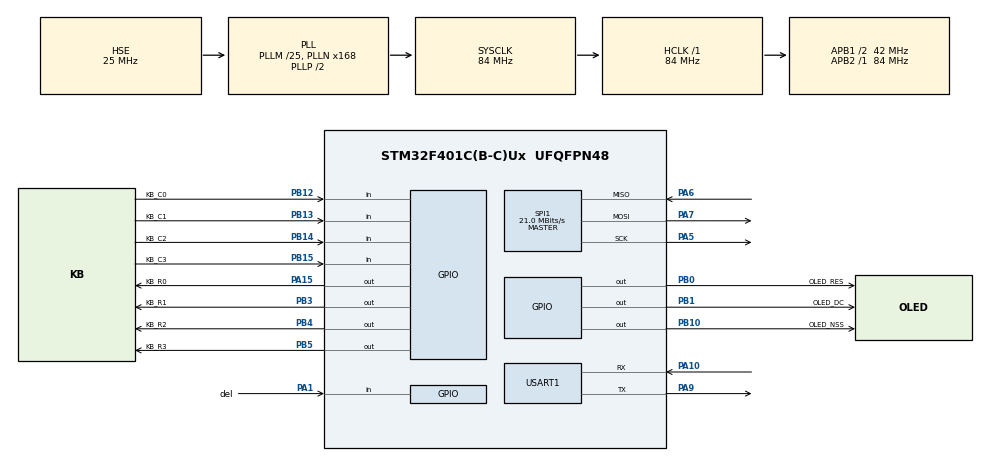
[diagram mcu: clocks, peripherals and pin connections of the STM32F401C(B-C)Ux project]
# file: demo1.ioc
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Mcu.Family=STM32F4
Mcu.Name=STM32F401C(B-C)Ux
Mcu.Package=UFQFPN48
NVIC.PriorityGroup=NVIC_PRIORITYGROUP_4
PA1.GPIO_Label=del
PA1.GPIO_PuPd=GPIO_PULLUP
PA1.Signal=GPIO_Input
PA10.Mode=Asynchronous
PA10.Signal=USART1_RX
PA15.GPIO_Label=KB_R0
PA15.Signal=GPIO_Output
PA5.Mode=Full_Duplex_Master
PA5.Signal=SPI1_SCK
PA6.Mode=Full_Duplex_Master
PA6.Signal=SPI1_MISO
PA7.Mode=Full_Duplex_Master
PA7.Signal=SPI1_MOSI
PA9.Mode=Asynchronous
PA9.Signal=USART1_TX
PB0.GPIO_Label=OLED_RES
PB0.Signal=GPIO_Output
PB1.GPIO_Label=OLED_DC
PB1.Signal=GPIO_Output
PB10.GPIO_Label=OLED_NSS
PB10.Signal=GPIO_Output
PB12.GPIO_Label=KB_C0
PB12.GPIO_PuPd=GPIO_PULLDOWN
PB12.Signal=GPIO_Input
PB13.GPIO_Label=KB_C1
PB13.GPIO_PuPd=GPIO_PULLDOWN
PB13.Signal=GPIO_Input
PB14.GPIO_Label=KB_C2
PB14.GPIO_PuPd=GPIO_PULLDOWN
PB14.Signal=GPIO_Input
PB15.GPIO_Label=KB_C3
PB15.GPIO_PuPd=GPIO_PULLDOWN
PB15.Signal=GPIO_Input
PB3.GPIO_Label=KB_R1
PB3.Signal=GPIO_Output
PB4.GPIO_Label=KB_R2
PB4.Signal=GPIO_Output
PB5.GPIO_Label=KB_R3
PB5.Signal=GPIO_Output
PH0\ -\ OSC_IN.Mode=HSE-External-Oscillator
PH0\ -\ OSC_IN.Signal=RCC_OSC_IN
PH1\ -\ OSC_OUT.Mode=HSE-External-Oscillator
PH1\ -\ OSC_OUT.Signal=RCC_OSC_OUT
ProjectManager.HeapSize=0x200
ProjectManager.StackSize=0x400
ProjectManager.TargetToolchain=SW4STM32
RCC.48MHZClocksFreq_Value=42000000
RCC.AHBFreq_Value=84000000
RCC.APB1CLKDivider=RCC_HCLK_DIV2
RCC.APB1Freq_Value=42000000
RCC.APB1TimFreq_Value=84000000
RCC.APB2Freq_Value=84000000
RCC.APB2TimFreq_Value=84000000
RCC.CortexFreq_Value=84000000
RCC.HCLKFreq_Value=84000000
RCC.HSE_VALUE=25000000
RCC.HSI_VALUE=16000000
RCC.LSE_VALUE=32768
RCC.PLLM=25
RCC.PLLN=168
RCC.PLLSourceVirtual=RCC_PLLSOURCE_HSE
RCC.SYSCLKFreq_VALUE=84000000
RCC.SYSCLKSource=RCC_SYSCLKSOURCE_PLLCLK
RCC.VCOOutputFreq_Value=168000000
SPI1.BaudRatePrescaler=SPI_BAUDRATEPRESCALER_4
SPI1.CLKPhase=SPI_PHASE_2EDGE
SPI1.CLKPolarity=SPI_POLARITY_HIGH
SPI1.CalculateBaudRate=21.0 MBits/s
SPI1.Direction=SPI_DIRECTION_2LINES
SPI1.Mode=SPI_MODE_MASTER
SPI1.VirtualType=VM_MASTER
USART1.VirtualMode=VM_ASYNC
board=custom

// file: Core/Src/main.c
/* USER CODE BEGIN Header */

/**
  ******************************************************************************
  * @file           : main.c
  * @brief          : Main program body
  ******************************************************************************
  * @attention
  *
  * <h2><center>&copy; Copyright (c) 2021 STMicroelectronics.
  * All rights reserved.</center></h2>
  *
  * This software component is licensed by ST under BSD 3-Clause license,
  * the "License"; You may not use this file except in compliance with the
  * License. You may obtain a copy of the License at:
  *                        opensource.org/licenses/BSD-3-Clause
  *
  ******************************************************************************
  */
/* USER CODE END Header */
#include "main.h"
#include "spi.h"
#include "usart.h"
#include "gpio.h"

/* USER CODE BEGIN Includes */
#include"u8g2.h"
#include <stdio.h>
#include<math.h>
/* USER CODE END Includes */

/* USER CODE BEGIN PV */
u8g2_t u8g2;
//buffer starts
uint8_t first[14]={0};
uint8_t second[14]={0};
uint8_t resault[14]={0};
char menu[16][2]={
        "7","8","9","/",
        "4","5","6","x",
        "1","2","3","-",
        "0",".","=","+"
};
char sign[2];
uint8_t line=1;
uint8_t model=1;
uint8_t state=1;
//state表：
//  输入  1
//   +    2
//   -    3
//   x    4
//   /    5
//  输出  6
char byf250[20];
/* USER CODE END PV */

void SystemClock_Config(void);
/* USER CODE BEGIN PFP */
uint8_t u8x8_stm32_gpio_and_delay(U8X8_UNUSED u8x8_t *u8x8,
                                  U8X8_UNUSED uint8_t msg,
                                  U8X8_UNUSED uint8_t arg_int,
                                  U8X8_UNUSED void *arg_ptr);
uint8_t u8x8_byte_4wire_hw_spi(u8x8_t *u8x8, uint8_t msg, uint8_t arg_int,void *arg_ptr);
int strlen(uint8_t *s);
char* strcat(char *destination,const char *source);

/* USER CODE END PFP */

/* USER CODE BEGIN 0 */
typedef struct {
    GPIO_TypeDef *GPIOx;
    uint16_t GPIO_Pin;
} GPIO_Pin_TypeDef;

GPIO_Pin_TypeDef keyboardRow[] = {
        { KB_R3_GPIO_Port, KB_R3_Pin },
        { KB_R2_GPIO_Port, KB_R2_Pin },
        { KB_R1_GPIO_Port, KB_R1_Pin },
        { KB_R0_GPIO_Port, KB_R0_Pin },
};

GPIO_Pin_TypeDef keyboardCol[] = {
        { KB_C3_GPIO_Port, KB_C3_Pin },
        { KB_C2_GPIO_Port, KB_C2_Pin },
        { KB_C1_GPIO_Port, KB_C1_Pin },
        { KB_C0_GPIO_Port, KB_C0_Pin },
};

uint32_t KeyboardScan(void)
{
    uint32_t result = 0;
    for (int row = 0; row < sizeof(keyboardRow) / sizeof(GPIO_Pin_TypeDef); row++)
    {
        HAL_GPIO_WritePin(keyboardRow[row].GPIOx, keyboardRow[row].GPIO_Pin, GPIO_PIN_SET);
        for (int col = 0; col < sizeof(keyboardCol) / sizeof(GPIO_Pin_TypeDef); col++)
        {
            result <<= 1;
            result |= HAL_GPIO_ReadPin(keyboardCol[col].GPIOx, keyboardCol[col].GPIO_Pin) == GPIO_PIN_SET;
        }
        HAL_GPIO_WritePin(keyboardRow[row].GPIOx, keyboardRow[row].GPIO_Pin, GPIO_PIN_RESET);
    }

    return result;
}

//u8g2相关内容

void frame(u8g2_t* u8g2,uint8_t first[],uint8_t second[],uint8_t out[],uint8_t sign[]);
void frameutf8(u8g2_t* u8g2,uint8_t first[],uint8_t second[],uint8_t out[]);

uint8_t decode(uint16_t data,uint8_t pos);

void operate(uint8_t* first)
{
    uint32_t index=KeyboardScan();
//    loop:
//    if (!KeyboardScan())
//
//        for (int i = 0; i < 16; i++) {
//            if (index & (1 << i)) {
//                strcat(first, menu[i]);
//            }
//        }
//    else
//        goto loop;

while(KeyboardScan())
{

}
    for (int i = 0; i < 16; i++) {
        if (index & (1 << i)) {
            strcat(first, menu[i]);
        }
    }

//    for(int i=0;i<16;i++)//标记位i
//    {
//        if (decode(index, i) > 0)//按下就进行匹
//        {
//            switch (index) {
//                case 1:
//                    strcat(first, "7");
//                    state = 1;
//                    break;
//                case 2:
//                    strcat(first, "8");
//                    state = 1;
//                    break;
//                case 4:
//                    strcat(first, "9");
//                    state = 1;
//                    break;
//                case 8:
//                    //strcat(buffer,"7");
//                    state = _div;
//                    break;
//                case 16:
//                    strcat(first, "4");
//                    state = _input;
//                    break;
//                case 32:
//                    strcat(first, "5");
//                    state = _input;
//                    break;
//                case 64:
//                    strcat(first, "6");
//                    state = _input;
//                    break;
//                case 128:
//                    state = _multi;
//                    break;
//                case 256:
//                    strcat(first, "1");
//                    state = _input;
//                    break;
//                case 512:
//                    strcat(first, "2");
//                    state = _input;
//                    break;
//                case 1024:
//                    strcat(first, "3");
//                    state = _input;
//                    break;
//                case 2048:
//                    state = _sub;
//                    break;
//                case 4096:
//                    strcat(first, "0");
//                    state = _input;
//                    break;
//                case 8192:
//                    strcat(first, ".");
//                    state = _input;
//                    break;
//                case 16384:
//                    state = _output;
//                    break;
//                case 32768:
//                    state = _plus;
//                    break;
//            }
//        }
//    }
}
void countmodel(uint8_t *buffer)
{
    int i=0;
    while(buffer[i++])
    {
        if(buffer[i]=='.')
            model=_float;
    }
}
int str2value_int(uint8_t *buffer)
{
    int len = 0;
    int sum = 0;
    int i = 0;
    while (buffer[i++])
    {

        sum = sum * 10 + buffer[i-1] - '0';

    }
    return sum;
}
void value2str_int(uint8_t* buffer,int value)
{
    int m, len = 0;
    if (value >= 0)
    {
        do {
            m = value % 10;
            len = 0;
            while (buffer[len++]);
            len--;
            for (; len > 0; len--) {
                buffer[len] = buffer[len - 1];
            }
            buffer[0] = m + '0';
            value /= 10;

        } while (value);
    }
    else
    {
        value=-value;
        do {
            m = value % 10;
            len = 0;
            while (buffer[len++]);
            len--;
            for (; len > 0; len--) {
                buffer[len] = buffer[len - 1];
            }
            buffer[0] = m + '0';
            value /= 10;

        } while (value);
        len = 0;
        while (buffer[len++]);
        len--;
        for (; len > 0; len--) {
            buffer[len] = buffer[len - 1];
        }
        buffer[0] = '-';

    }

}

//copy de demo
float str2value_float(char *num){

    double n = 0, sign = 1, scale = 0;
    int subscale = 0, signsubscale = 1;

    if (*num == '-') {
        sign = -1, num++;	/* Has sign? */
    }

    while (*num == '0') {
        num++;
    }

    if (*num >= '1' && *num <= '9')	{
        do {
            n = (n * 10.0) + (*num++ - '0');
        } while (*num >= '0' && *num <= '9');	/* Number? */
    }

    if (*num == '.' && num[1] >= '0' && num[1] <= '9') {
        num++;
        do {
            n = (n * 10.0) + (*num++ -'0'), scale--;
        } while (*num >= '0' && *num <= '9');
    }	/* Fractional part? */

    if (*num == 'e' || *num == 'E')	{	/* Exponent? */
        num++;
        if (*num == '+') {
            num++;
        } else if (*num == '-') {
            signsubscale = -1, num++;		/* With sign? */
        }

        while (*num >= '0' && *num <= '9' ) {
            subscale = (subscale * 10) + (*num++ - '0');	/* Number? */
        }
    }

    n = sign * n * pow(10.0, (scale + subscale * signsubscale));	/* number = +/- number.fraction * 10^ +/- exponent */

    return n;
}
void value2str_float(char*buffer,float slope)  //浮点型数，存储的字符数组，字符数组的长度
{
   // buffer[0]=' ';
    int n= 13;
    int temp,i,j;
    if(slope<0)
    {
        buffer[0] = '-';
        slope = -slope;
    }
    temp = (int)slope;//取整数部�?
    for(i=0;temp!=0;i++)//计算整数部分的位�?
        temp /=10;
    temp =(int)slope;

    for(j=i;j>=0;j--)//将整数部分转换成字符串型
    {
        buffer[j] = temp%10+'0';
        temp /=10;
    }

    buffer[i+1] = '.';
    slope -=(int)slope;
    for(i=i+2;i<n-1;i++)//将小数部分转换成字符串型
    {
        slope*=10;
        buffer[i]=(int)slope+'0';
        slope-=(int)slope;
    }
    buffer[n-1] = '\0';
}
int iffloat(uint8_t* buffer)
{
    int flag=1,i=0;
    while(buffer[i])
    {
        if(buffer[i]=='.')
            flag=0;
        i++;
    }

    return flag;
}
void del_key(uint8_t * buffer)
{
    int i=0;
    while(buffer[i++]);
    i--;
    if(i>0)
        buffer[i-1]=0;
}
/* USER CODE END 0 */

int main(void)
{

  /* MCU Configuration--------------------------------------------------------*/

  /* Reset of all peripherals, Initializes the Flash interface and the Systick. */
  HAL_Init();

  /* Configure the system clock */
  SystemClock_Config();

  /* Initialize all configured peripherals */
  MX_GPIO_Init();
  MX_SPI1_Init();
  MX_USART1_UART_Init();
  /* USER CODE BEGIN 2 */
    u8g2_Setup_ssd1306_128x64_noname_f(&u8g2, U8G2_R0, u8x8_byte_4wire_hw_spi, u8x8_stm32_gpio_and_delay);
    u8g2_InitDisplay(&u8g2);
    u8g2_SetPowerSave(&u8g2, 0);

  /* USER CODE END 2 */

  /* Infinite loop */
  /* USER CODE BEGIN WHILE */
  while (1)
  {
      //HAL_UART_Transmit(&huart1,"hhh",3,HAL_MAX_DELAY);
    /* USER CODE END WHILE */

    /* USER CODE BEGIN 3 */

//      uint32_t keyboard = KeyboardScan();
//
//      u8g2_FirstPage(&u8g2);
//      do
//      {
//          u8g2_SetFont(&u8g2, u8g2_font_courR18_tf);
//          u8g2_DrawStr(&u8g2, 60, 60, "SAST");
//
//          for (size_t i = 0; i < 4; i++)
//          {
//              for (size_t j = 0; j < 4; j++)
//              {
//                  if (keyboard & (1 << (15 - i * 4 - j)))
//                  {
//                      u8g2_DrawStr(&u8g2, j * 12, i * 16 - 1 + 16, "1");
//                  }
//                  else
//                  {
//                      u8g2_DrawStr(&u8g2, j * 12, i * 16 - 1 + 16, "0");
//                  }
//              }
//          }
//
//      } while (u8g2_NextPage(&u8g2));

//************uniform model select***********************
      int keyboard=KeyboardScan();

      for (int i = 0; i < 16; i++)
      {
          if (keyboard & (1 << i))
          {

              //***********select format******************

              if (menu[i][0]=='+')
              {
                state=_plus;
                sign[0]='+';
              }
              else if (menu[i][0]=='-')
              {
                state=_sub;
                sign[0]='-';
                  //HAL_UART_Transmit(&huart1,&menu[i],1,HAL_MAX_DELAY);
              }
              else if (menu[i][0]=='x')
              {
                state=_multi;
                  sign[0]='x';
              }
              else if (menu[i][0]=='/')
              {
                  state=_div;
                  sign[0]='/';
              }
              else if (menu[i][0]=='=')
              {
                  state=_output;

              }
              //************format end******************
          }
      }
//***************************************************************

      if (state == 1&&line==1)
          operate(first);
      else if (state >= 3)
      {
          state = _input;
          line = 2;
      }
      else if(state==1&&line==2)
          operate(second);
      else if (state == _output) {
          while (KeyboardScan()) {

          }
          if (iffloat(first) && iffloat(second)) {
              int one = str2value_int(first), two = str2value_int(second);

              if (sign[0] == '+')
                  value2str_int(resault, one + two);
              if (sign[0] == '-')
                  value2str_int(resault, one - two);
              if (sign[0] == 'x')
                  value2str_int(resault, one * two);
              if (sign[0] == '/')
                  value2str_float(resault, (double) one / two);
              //state = 0;
          }

          else
          {
              double one = str2value_float(first), two = str2value_float(second);

              if (sign[0] == '+')
                  value2str_float(resault, one + two);
              if (sign[0] == '-')
                  value2str_float(resault, one - two);
              if (sign[0] == 'x')
                  value2str_float(resault, one * two);
              if (sign[0] == '/')
                  value2str_float(resault, one / two);
              //state = 0;
          }
      }
      if (!HAL_GPIO_ReadPin(del_GPIO_Port, del_Pin)) {
          while (!HAL_GPIO_ReadPin(del_GPIO_Port, del_Pin)) {

          }
          if (line == 1)
              del_key(first);
          if (line == 2)
              del_key(second);
      }

//else if(state);

      frame(&u8g2,first,second,resault,sign);
      if(state==_output)
          while(1);

//      u8g2_FirstPage(&u8g2);
//      do {
//          u8g2_SetFont(&u8g2, u8g2_font_courR12_tf);
//
//          sprintf(byf250,"%d",state);
//          u8g2_DrawStr(&u8g2,1,45,byf250);
//
//      } while (u8g2_NextPage(&u8g2));

//    int index=KeyboardScan();
//      int len = strlen(resault);
//      u8g2_FirstPage(&u8g2);
//      do {
//          u8g2_SetFont(&u8g2, u8g2_font_courR12_tf);
//          u8g2_DrawStr(&u8g2, 0, 15, first);
//          u8g2_DrawStr(&u8g2, 0, 30, second);
////          u8g2_DrawStr(&u8g2, 128 - len * 10, 50, resault);
//          u8g2_DrawLine(&u8g2, 0, 32, 128, 32);
//          sprintf(byf250,"%d",index);
//          u8g2_DrawStr(&u8g2,1,45,byf250);
//
//      } while (u8g2_NextPage(&u8g2));

      //HAL_Delay(500);

  }
  /* USER CODE END 3 */
}

void SystemClock_Config(void)
{
  RCC_OscInitTypeDef RCC_OscInitStruct = {0};
  RCC_ClkInitTypeDef RCC_ClkInitStruct = {0};

  /** Configure the main internal regulator output voltage
  */
  __HAL_RCC_PWR_CLK_ENABLE();
  __HAL_PWR_VOLTAGESCALING_CONFIG(PWR_REGULATOR_VOLTAGE_SCALE2);
  /** Initializes the RCC Oscillators according to the specified parameters
  * in the RCC_OscInitTypeDef structure.
  */
  RCC_OscInitStruct.OscillatorType = RCC_OSCILLATORTYPE_HSE;
  RCC_OscInitStruct.HSEState = RCC_HSE_ON;
  RCC_OscInitStruct.PLL.PLLState = RCC_PLL_ON;
  RCC_OscInitStruct.PLL.PLLSource = RCC_PLLSOURCE_HSE;
  RCC_OscInitStruct.PLL.PLLM = 25;
  RCC_OscInitStruct.PLL.PLLN = 168;
  RCC_OscInitStruct.PLL.PLLP = RCC_PLLP_DIV2;
  RCC_OscInitStruct.PLL.PLLQ = 4;
  if (HAL_RCC_OscConfig(&RCC_OscInitStruct) != HAL_OK)
  {
    Error_Handler();
  }
  /** Initializes the CPU, AHB and APB buses clocks
  */
  RCC_ClkInitStruct.ClockType = RCC_CLOCKTYPE_HCLK|RCC_CLOCKTYPE_SYSCLK
                              |RCC_CLOCKTYPE_PCLK1|RCC_CLOCKTYPE_PCLK2;
  RCC_ClkInitStruct.SYSCLKSource = RCC_SYSCLKSOURCE_PLLCLK;
  RCC_ClkInitStruct.AHBCLKDivider = RCC_SYSCLK_DIV1;
  RCC_ClkInitStruct.APB1CLKDivider = RCC_HCLK_DIV2;
  RCC_ClkInitStruct.APB2CLKDivider = RCC_HCLK_DIV1;

  if (HAL_RCC_ClockConfig(&RCC_ClkInitStruct, FLASH_LATENCY_2) != HAL_OK)
  {
    Error_Handler();
  }
}

/* USER CODE BEGIN 4 */
uint8_t u8x8_stm32_gpio_and_delay(U8X8_UNUSED u8x8_t *u8x8,
                                  U8X8_UNUSED uint8_t msg,
                                  U8X8_UNUSED uint8_t arg_int,
                                  U8X8_UNUSED void *arg_ptr)
{
    switch (msg)
    {
        case U8X8_MSG_GPIO_AND_DELAY_INIT:
            HAL_Delay(1);
            break;
        case U8X8_MSG_DELAY_MILLI:
            HAL_Delay(arg_int);
            break;
        case U8X8_MSG_GPIO_DC:
            HAL_GPIO_WritePin(OLED_DC_GPIO_Port, OLED_DC_Pin, arg_int);
            break;
        case U8X8_MSG_GPIO_RESET:
            HAL_GPIO_WritePin(OLED_RES_GPIO_Port, OLED_RES_Pin, arg_int);
            break;
    }
    return 1;
}

uint8_t u8x8_byte_4wire_hw_spi(u8x8_t *u8x8, uint8_t msg, uint8_t arg_int,void *arg_ptr)
{
    switch (msg)
    {
        case U8X8_MSG_BYTE_SEND:
            HAL_SPI_Transmit(&hspi1, (uint8_t *) arg_ptr, arg_int, HAL_MAX_DELAY);
            break;
        case U8X8_MSG_BYTE_INIT:
            break;
        case U8X8_MSG_BYTE_SET_DC:
            HAL_GPIO_WritePin(OLED_DC_GPIO_Port, OLED_DC_Pin, arg_int);
            break;
        case U8X8_MSG_BYTE_START_TRANSFER:
            HAL_GPIO_WritePin(OLED_NSS_GPIO_Port, OLED_NSS_Pin, GPIO_PIN_RESET);
            break;
        case U8X8_MSG_BYTE_END_TRANSFER:
            HAL_GPIO_WritePin(OLED_NSS_GPIO_Port, OLED_NSS_Pin, GPIO_PIN_SET);
            break;
        default:
            return 0;
    }
    return 1;
}
int strlen(uint8_t *s)
{
    int i=0;
    while(s[i])
    {
        i++;
    }
    return i;
}
char* strcat(char *destination,const char *source)
{
    int i=0;
    while(destination[i]!='\0')
        i++;
    while (*source!='\0')
        destination[i++]=*(source++);
    *(destination+i)='\0';
    return (destination);
}
void frameutf8(u8g2_t* u8g2,uint8_t first[],uint8_t second[],uint8_t out[])
{
    int len=strlen(out);
//    u8g2_FirstPage(u8g2);
//    do
//    {
//        u8g2_SetFont(u8g2, u8g2_font_courR12_tf);
//        u8g2_DrawStr(u8g2, 0, 15, first);
//        u8g2_DrawStr(u8g2, 0, 30, second);
//        u8g2_DrawStr(u8g2, 128-len*10, 50, out);
//        u8g2_DrawLine(u8g2,0, 32, 128, 32);
//
//
//    } while (u8g2_NextPage(u8g2));

    u8g2_FirstPage(u8g2);
    u8g2_ClearBuffer(u8g2);
    do
    {

        u8g2_SetFont(u8g2,u8g2_font_unifont_t_symbols);
        u8g2_DrawUTF8(u8g2, 0, 15, first);
        u8g2_DrawUTF8(u8g2, 0, 30, second);
        u8g2_DrawUTF8(u8g2, 128-len*10, 50, out);
        u8g2_DrawLine(u8g2,0, 32, 128, 32);
    } while (u8g2_NextPage(u8g2));
}
void frame(u8g2_t* u8g2,uint8_t first[],uint8_t second[],uint8_t out[],uint8_t sign[])
{
    int len=strlen(out);
    u8g2_FirstPage(u8g2);
    do
    {
        u8g2_SetFont(u8g2, u8g2_font_courR12_tf);
        u8g2_DrawStr(u8g2, 0, 15, first);
        u8g2_DrawStr(u8g2, 0, 30, second);
        u8g2_DrawStr(u8g2, 128-len*10, 50, out);
        u8g2_DrawStr(u8g2, 0, 50, sign);
        u8g2_DrawLine(u8g2,0, 32, 128, 32);

    } while (u8g2_NextPage(u8g2));
}
uint8_t decode(uint16_t data,uint8_t pos)
{
    return data&(1<<pos);
//    return 1&(data>>(pos));
}
/* USER CODE END 4 */

void Error_Handler(void)
{
  __disable_irq();
  while (1)
  {
  }
}

/************************ (C) COPYRIGHT STMicroelectronics *****END OF FILE****/
